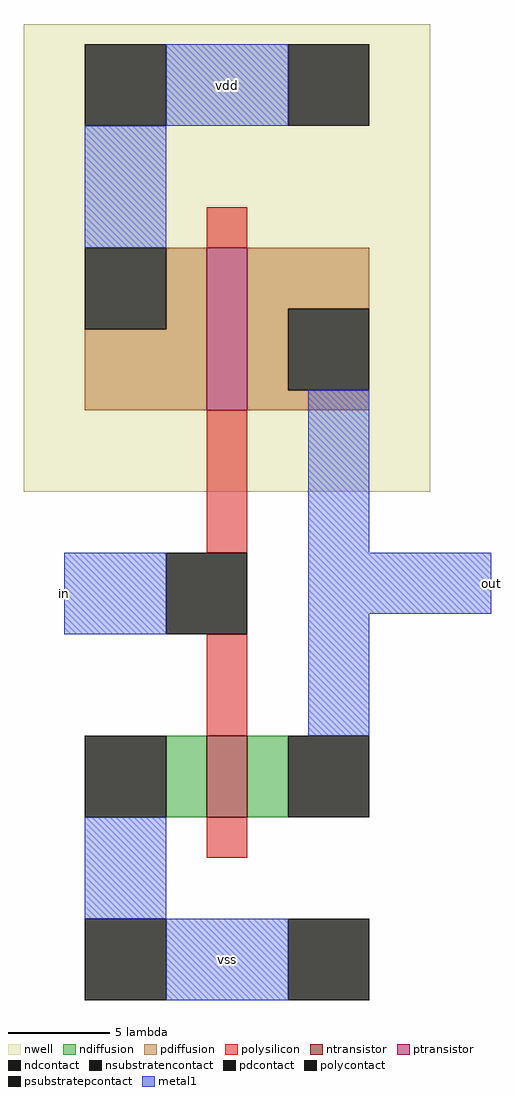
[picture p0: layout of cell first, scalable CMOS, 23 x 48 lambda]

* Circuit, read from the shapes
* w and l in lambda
.subckt first in out vdd vss
M1 out in vss vss nfet w=4 l=2
M2 out in vdd vdd pfet w=8 l=2
.ends

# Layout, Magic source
magic
tech scmos
<< nwell >>
rect 0 0 20 23
<< polysilicon >>
rect 9 12 11 14
rect 9 -3 11 4
rect 9 -12 11 -7
rect 9 -18 11 -16
<< ndiffusion >>
rect 7 -16 9 -12
rect 11 -16 13 -12
<< pdiffusion >>
rect 7 8 9 12
rect 3 4 9 8
rect 11 9 17 12
rect 11 5 13 9
rect 11 4 17 5
<< metal1 >>
rect 7 18 13 22
rect 3 12 7 18
rect 14 -3 17 5
rect 2 -7 7 -3
rect 14 -6 23 -3
rect 14 -12 17 -6
rect 3 -21 7 -16
rect 7 -25 13 -21
<< ntransistor >>
rect 9 -16 11 -12
<< ptransistor >>
rect 9 4 11 12
<< polycontact >>
rect 7 -7 11 -3
<< ndcontact >>
rect 3 -16 7 -12
rect 13 -16 17 -12
<< pdcontact >>
rect 3 8 7 12
rect 13 5 17 9
<< psubstratepcontact >>
rect 3 -25 7 -21
rect 13 -25 17 -21
<< nsubstratencontact >>
rect 3 18 7 22
rect 13 18 17 22
<< labels >>
rlabel metal1 10 -23 10 -23 5 vss
rlabel metal1 10 20 10 20 5 vdd
rlabel metal1 2 -7 2 -3 7 in
rlabel metal1 23 -6 23 -3 3 out
<< end >>
